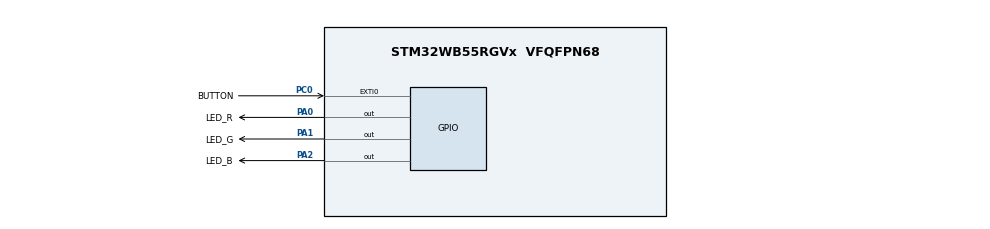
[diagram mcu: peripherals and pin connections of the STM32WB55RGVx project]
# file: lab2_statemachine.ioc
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Mcu.Family=STM32WB
Mcu.Name=STM32WB55RGVx
Mcu.Package=VFQFPN68
NVIC.EXTI0_IRQn=true\:0\:0\:false\:false\:true\:true\:true
NVIC.PriorityGroup=NVIC_PRIORITYGROUP_4
PA0.GPIO_Label=LED_R
PA0.Signal=GPIO_Output
PA1.GPIO_Label=LED_G
PA1.Signal=GPIO_Output
PA2.GPIO_Label=LED_B
PA2.Signal=GPIO_Output
PC0.GPIO_Label=BUTTON
PC0.GPIO_ModeDefaultEXTI=GPIO_MODE_IT_FALLING
PC0.GPIO_PuPd=GPIO_PULLUP
PC0.Signal=GPXTI0
ProjectManager.HeapSize=0x200
ProjectManager.StackSize=0x400
ProjectManager.TargetToolchain=STM32CubeIDE
RCC.APB3Freq_Value=16000000
RCC.HSE_VALUE=8000000
RCC.HSI48_VALUE=48000000
RCC.HSI_VALUE=16000000
RCC.LSE_VALUE=32768
RCC.VCOOutputFreq_Value=32000000
board=custom

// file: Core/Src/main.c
/* USER CODE BEGIN Header */
/**
  ******************************************************************************
  * @file           : main.c
  * @brief          : Main program body
  ******************************************************************************
  * @attention
  *
  * <h2><center>&copy; Copyright (c) 2021 STMicroelectronics.
  * All rights reserved.</center></h2>
  *
  * This software component is licensed by ST under BSD 3-Clause license,
  * the "License"; You may not use this file except in compliance with the
  * License. You may obtain a copy of the License at:
  *                        opensource.org/licenses/BSD-3-Clause
  *
  ******************************************************************************
  */
/* USER CODE END Header */
#include "main.h"

/* USER CODE BEGIN PV */
 int switching = 0;
 int state_Machine = 2;
 int button_state = 1;
/* USER CODE END PV */

void SystemClock_Config(void);
static void MX_GPIO_Init(void);

/* USER CODE BEGIN 0 */
void switchState(){
	switching = 1;
	if(state_Machine == 8){
		state_Machine = 0;
		}
	state_Machine++;
}

void HAL_GPIO_EXTI_Callback(uint16_t GPIO_Pin)
{
	if(GPIO_Pin == BUTTON_Pin && switching == 0){
			switchState();
		}
}

/* USER CODE END 0 */

int main(void)
{

  /* MCU Configuration--------------------------------------------------------*/

  /* Reset of all peripherals, Initializes the Flash interface and the Systick. */
  HAL_Init();

  /* Configure the system clock */
  SystemClock_Config();

  /* Initialize all configured peripherals */
  MX_GPIO_Init();

  /* Infinite loop */
  /* USER CODE BEGIN WHILE */
  while (1)
  {
	  switch(state_Machine){
	  case 1:
		  HAL_GPIO_WritePin(LED_R_GPIO_Port, LED_R_Pin, RESET);
		  HAL_GPIO_WritePin(LED_G_GPIO_Port, LED_G_Pin, RESET);
		  HAL_GPIO_WritePin(LED_B_GPIO_Port, LED_B_Pin, RESET);
		  break;

	  case 2:
		  HAL_GPIO_WritePin(LED_R_GPIO_Port, LED_R_Pin, RESET);
		  HAL_GPIO_WritePin(LED_G_GPIO_Port, LED_G_Pin, RESET);
		  HAL_GPIO_WritePin(LED_B_GPIO_Port, LED_B_Pin, SET);
		  break;

	  case 3:
		  HAL_GPIO_WritePin(LED_R_GPIO_Port, LED_R_Pin, RESET);
		  HAL_GPIO_WritePin(LED_G_GPIO_Port, LED_G_Pin, SET);
		  HAL_GPIO_WritePin(LED_B_GPIO_Port, LED_B_Pin, RESET);
		  break;

	  case 4:
		  HAL_GPIO_WritePin(LED_R_GPIO_Port, LED_R_Pin, RESET);
		  HAL_GPIO_WritePin(LED_G_GPIO_Port, LED_G_Pin, SET);
		  HAL_GPIO_WritePin(LED_B_GPIO_Port, LED_B_Pin, SET);
		  break;

	  case 5:
		  HAL_GPIO_WritePin(LED_R_GPIO_Port, LED_R_Pin, SET);
		  HAL_GPIO_WritePin(LED_G_GPIO_Port, LED_G_Pin, RESET);
		  HAL_GPIO_WritePin(LED_B_GPIO_Port, LED_B_Pin, RESET);
		  break;

	  case 6:
		  HAL_GPIO_WritePin(LED_R_GPIO_Port, LED_R_Pin, SET);
		  HAL_GPIO_WritePin(LED_G_GPIO_Port, LED_G_Pin, RESET);
		  HAL_GPIO_WritePin(LED_B_GPIO_Port, LED_B_Pin, SET);
		  break;

	  case 7:
		  HAL_GPIO_WritePin(LED_R_GPIO_Port, LED_R_Pin, SET);
		  HAL_GPIO_WritePin(LED_G_GPIO_Port, LED_G_Pin, SET);
		  HAL_GPIO_WritePin(LED_B_GPIO_Port, LED_B_Pin, RESET);
		  break;

	  case 8:
		  HAL_GPIO_WritePin(LED_R_GPIO_Port, LED_R_Pin, SET);
		  HAL_GPIO_WritePin(LED_G_GPIO_Port, LED_G_Pin, SET);
		  HAL_GPIO_WritePin(LED_B_GPIO_Port, LED_B_Pin, SET);
		  break;
	  }
	  if(switching == 1){
		  HAL_Delay(100);
		  switching = 0;
	  }

    /* USER CODE END WHILE */

  }
}

void SystemClock_Config(void)
{
  RCC_OscInitTypeDef RCC_OscInitStruct = {0};
  RCC_ClkInitTypeDef RCC_ClkInitStruct = {0};
  RCC_PeriphCLKInitTypeDef PeriphClkInitStruct = {0};

  /** Configure the main internal regulator output voltage
  */
  __HAL_PWR_VOLTAGESCALING_CONFIG(PWR_REGULATOR_VOLTAGE_SCALE1);
  /** Initializes the RCC Oscillators according to the specified parameters
  * in the RCC_OscInitTypeDef structure.
  */
  RCC_OscInitStruct.OscillatorType = RCC_OSCILLATORTYPE_HSI|RCC_OSCILLATORTYPE_MSI;
  RCC_OscInitStruct.HSIState = RCC_HSI_ON;
  RCC_OscInitStruct.MSIState = RCC_MSI_ON;
  RCC_OscInitStruct.HSICalibrationValue = RCC_HSICALIBRATION_DEFAULT;
  RCC_OscInitStruct.MSICalibrationValue = RCC_MSICALIBRATION_DEFAULT;
  RCC_OscInitStruct.MSIClockRange = RCC_MSIRANGE_6;
  RCC_OscInitStruct.PLL.PLLState = RCC_PLL_NONE;
  if (HAL_RCC_OscConfig(&RCC_OscInitStruct) != HAL_OK)
  {
    Error_Handler();
  }
  /** Configure the SYSCLKSource, HCLK, PCLK1 and PCLK2 clocks dividers
  */
  RCC_ClkInitStruct.ClockType = RCC_CLOCKTYPE_HCLK4|RCC_CLOCKTYPE_HCLK2
                              |RCC_CLOCKTYPE_HCLK|RCC_CLOCKTYPE_SYSCLK
                              |RCC_CLOCKTYPE_PCLK1|RCC_CLOCKTYPE_PCLK2;
  RCC_ClkInitStruct.SYSCLKSource = RCC_SYSCLKSOURCE_MSI;
  RCC_ClkInitStruct.AHBCLKDivider = RCC_SYSCLK_DIV1;
  RCC_ClkInitStruct.APB1CLKDivider = RCC_HCLK_DIV1;
  RCC_ClkInitStruct.APB2CLKDivider = RCC_HCLK_DIV1;
  RCC_ClkInitStruct.AHBCLK2Divider = RCC_SYSCLK_DIV1;
  RCC_ClkInitStruct.AHBCLK4Divider = RCC_SYSCLK_DIV1;

  if (HAL_RCC_ClockConfig(&RCC_ClkInitStruct, FLASH_LATENCY_0) != HAL_OK)
  {
    Error_Handler();
  }
  /** Initializes the peripherals clocks
  */
  PeriphClkInitStruct.PeriphClockSelection = RCC_PERIPHCLK_SMPS;
  PeriphClkInitStruct.SmpsClockSelection = RCC_SMPSCLKSOURCE_HSI;
  PeriphClkInitStruct.SmpsDivSelection = RCC_SMPSCLKDIV_RANGE1;
  if (HAL_RCCEx_PeriphCLKConfig(&PeriphClkInitStruct) != HAL_OK)
  {
    Error_Handler();
  }
}

static void MX_GPIO_Init(void)
{
  GPIO_InitTypeDef GPIO_InitStruct = {0};

  /* GPIO Ports Clock Enable */
  __HAL_RCC_GPIOC_CLK_ENABLE();
  __HAL_RCC_GPIOA_CLK_ENABLE();

  /*Configure GPIO pin Output Level */
  HAL_GPIO_WritePin(GPIOA, LED_R_Pin|LED_G_Pin|LED_B_Pin, GPIO_PIN_RESET);

  /*Configure GPIO pin : BUTTON_Pin */
  GPIO_InitStruct.Pin = BUTTON_Pin;
  GPIO_InitStruct.Mode = GPIO_MODE_IT_FALLING;
  GPIO_InitStruct.Pull = GPIO_PULLUP;
  HAL_GPIO_Init(BUTTON_GPIO_Port, &GPIO_InitStruct);

  /*Configure GPIO pins : LED_R_Pin LED_G_Pin LED_B_Pin */
  GPIO_InitStruct.Pin = LED_R_Pin|LED_G_Pin|LED_B_Pin;
  GPIO_InitStruct.Mode = GPIO_MODE_OUTPUT_PP;
  GPIO_InitStruct.Pull = GPIO_NOPULL;
  GPIO_InitStruct.Speed = GPIO_SPEED_FREQ_LOW;
  HAL_GPIO_Init(GPIOA, &GPIO_InitStruct);

  /* EXTI interrupt init*/
  HAL_NVIC_SetPriority(EXTI0_IRQn, 0, 0);
  HAL_NVIC_EnableIRQ(EXTI0_IRQn);

}

void Error_Handler(void)
{
}

/************************ (C) COPYRIGHT STMicroelectronics *****END OF FILE****/
